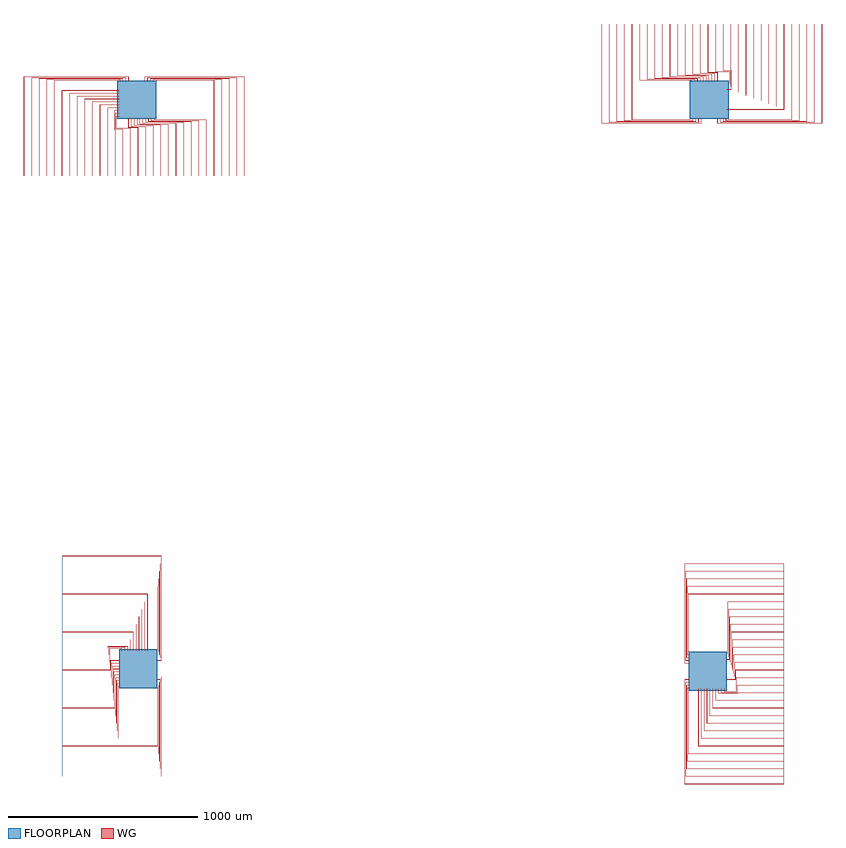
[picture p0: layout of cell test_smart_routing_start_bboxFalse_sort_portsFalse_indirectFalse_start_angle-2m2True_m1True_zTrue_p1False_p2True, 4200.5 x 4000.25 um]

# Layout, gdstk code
import gdstk
lib = gdstk.Library(unit=1e-6, precision=1e-09)
def R(c, l, rs):  # rectangles x0, y0, x1, y1
    for r in rs: c.add(gdstk.rectangle(r[:2], r[2:], *l))
def P(c, l, *ps):  # polygons
    for p in ps: c.add(gdstk.Polygon(p, *l))
WG = (1, 0)
FLOORPLAN = (10, 0)

test_smart_routing_start = lib.new_cell('test_smart_routing_start_bboxFalse_sort_portsFalse_indirectFalse_start_angle-2m2True_m1True_zTrue_p1False_p2True')
P(test_smart_routing_start, WG, [(3049.75,2877.5),(3049.75,2900),(3050.25,2900),(3050.25,2878),(3599.75,2878),(3599.75,3400),(3600.25,3400),(3600.25,2877.5)],
  [(3064.75,2882),(3064.75,2900),(3065.25,2900),(3065.25,2882.5),(3559.75,2882.5),(3559.75,3400),(3560.25,3400),(3560.25,2882)],
  [(3079.75,2886.5),(3079.75,2900),(3080.25,2900),(3080.25,2887),(3519.75,2887),(3519.75,3400),(3520.25,3400),(3520.25,2886.5)],
  [(3094.75,2891),(3094.75,2900),(3095.25,2900),(3095.25,2891.5),(3479.75,2891.5),(3479.75,3400),(3480.25,3400),(3480.25,2891)],
  [(3109.75,2895.5),(3109.75,2900),(3110.25,2900),(3110.25,2896),(3439.75,2896),(3439.75,3400),(3440.25,3400),(3440.25,2895.5)],
  [(3100,2949.75),(3100,2950.25),(3399.75,2950.25),(3399.75,3400),(3400.25,3400),(3400.25,2949.75)],
  [(3100,2964.75),(3100,2965.25),(3359.75,2965.25),(3359.75,3400),(3360.25,3400),(3360.25,2964.75)],
  [(3100,2979.75),(3100,2980.25),(3319.75,2980.25),(3319.75,3400),(3320.25,3400),(3320.25,2979.75)],
  [(3100,2994.75),(3100,2995.25),(3279.75,2995.25),(3279.75,3400),(3280.25,3400),(3280.25,2994.75)],
  [(3100,3009.75),(3100,3010.25),(3239.75,3010.25),(3239.75,3400),(3240.25,3400),(3240.25,3009.75)],
  [(3100,3024.75),(3100,3025.25),(3199.75,3025.25),(3199.75,3400),(3200.25,3400),(3200.25,3024.75)],
  [(3100,3039.75),(3100,3040.25),(3159.75,3040.25),(3159.75,3400),(3160.25,3400),(3160.25,3039.75)],
  [(3100,3054.75),(3100,3055.25),(3123.25,3055.25),(3123.25,3158),(3119.75,3158),(3119.75,3400),(3120.25,3400),(3120.25,3158.5),(3123.75,3158.5),(3123.75,3054.75)],
  [(3100,3069.75),(3100,3070.25),(3118.75,3070.25),(3118.75,3153.5),(3079.75,3153.5),(3079.75,3400),(3080.25,3400),(3080.25,3154),(3119.25,3154),(3119.25,3069.75)],
  [(3100,3084.75),(3100,3085.25),(3114.25,3085.25),(3114.25,3149),(3039.75,3149),(3039.75,3400),(3040.25,3400),(3040.25,3149.5),(3114.75,3149.5),(3114.75,3084.75)],
  [(3049.75,3100),(3049.75,3144.5),(2999.75,3144.5),(2999.75,3400),(3000.25,3400),(3000.25,3145),(3050.25,3145),(3050.25,3100)],
  [(3034.75,3100),(3034.75,3140),(2959.75,3140),(2959.75,3400),(2960.25,3400),(2960.25,3140.5),(3035.25,3140.5),(3035.25,3100)],
  [(3019.75,3100),(3019.75,3135.5),(2919.75,3135.5),(2919.75,3400),(2920.25,3400),(2920.25,3136),(3020.25,3136),(3020.25,3100)],
  [(3004.75,3100),(3004.75,3131),(2879.75,3131),(2879.75,3400),(2880.25,3400),(2880.25,3131.5),(3005.25,3131.5),(3005.25,3100)],
  [(2989.75,3100),(2989.75,3126.5),(2839.75,3126.5),(2839.75,3400),(2840.25,3400),(2840.25,3127),(2990.25,3127),(2990.25,3100)],
  [(2974.75,3100),(2974.75,3122),(2799.75,3122),(2799.75,3400),(2800.25,3400),(2800.25,3122.5),(2975.25,3122.5),(2975.25,3100)],
  [(2959.75,3100),(2959.75,3117.5),(2759.75,3117.5),(2759.75,3400),(2760.25,3400),(2760.25,3118),(2960.25,3118),(2960.25,3100)],
  [(2944.75,3100),(2944.75,3113),(2719.75,3113),(2719.75,3400),(2720.25,3400),(2720.25,3113.5),(2945.25,3113.5),(2945.25,3100)],
  [(2929.75,3100),(2929.75,3108.5),(2679.75,3108.5),(2679.75,3400),(2680.25,3400),(2680.25,3109),(2930.25,3109),(2930.25,3100)],
  [(2914.75,3100),(2914.75,3104),(2639.75,3104),(2639.75,3400),(2640.25,3400),(2640.25,3104.5),(2915.25,3104.5),(2915.25,3100)],
  [(2439.75,2877.5),(2439.75,3400),(2440.25,3400),(2440.25,2878),(2964.75,2878),(2964.75,2900),(2965.25,2900),(2965.25,2877.5)],
  [(2479.75,2882),(2479.75,3400),(2480.25,3400),(2480.25,2882.5),(2949.75,2882.5),(2949.75,2900),(2950.25,2900),(2950.25,2882)],
  [(2519.75,2886.5),(2519.75,3400),(2520.25,3400),(2520.25,2887),(2934.75,2887),(2934.75,2900),(2935.25,2900),(2935.25,2886.5)],
  [(2559.75,2891),(2559.75,3400),(2560.25,3400),(2560.25,2891.5),(2919.75,2891.5),(2919.75,2900),(2920.25,2900),(2920.25,2891)],
  [(2599.75,2895.5),(2599.75,3400),(2600.25,3400),(2600.25,2896),(2904.75,2896),(2904.75,2900),(2905.25,2900),(2905.25,2895.5)],
  [(-600.25,2600),(-600.25,3122.5),(-49.75,3122.5),(-49.75,3100),(-50.25,3100),(-50.25,3122),(-599.75,3122),(-599.75,2600)],
  [(-560.25,2600),(-560.25,3118),(-64.75,3118),(-64.75,3100),(-65.25,3100),(-65.25,3117.5),(-559.75,3117.5),(-559.75,2600)],
  [(-520.25,2600),(-520.25,3113.5),(-79.75,3113.5),(-79.75,3100),(-80.25,3100),(-80.25,3113),(-519.75,3113),(-519.75,2600)],
  [(-480.25,2600),(-480.25,3109),(-94.75,3109),(-94.75,3100),(-95.25,3100),(-95.25,3108.5),(-479.75,3108.5),(-479.75,2600)],
  [(-440.25,2600),(-440.25,3104.5),(-109.75,3104.5),(-109.75,3100),(-110.25,3100),(-110.25,3104),(-439.75,3104),(-439.75,2600)],
  [(-400.25,2600),(-400.25,3050.25),(-100,3050.25),(-100,3049.75),(-399.75,3049.75),(-399.75,2600)],
  [(-360.25,2600),(-360.25,3035.25),(-100,3035.25),(-100,3034.75),(-359.75,3034.75),(-359.75,2600)],
  [(-320.25,2600),(-320.25,3020.25),(-100,3020.25),(-100,3019.75),(-319.75,3019.75),(-319.75,2600)],
  [(-280.25,2600),(-280.25,3005.25),(-100,3005.25),(-100,3004.75),(-279.75,3004.75),(-279.75,2600)],
  [(-240.25,2600),(-240.25,2990.25),(-100,2990.25),(-100,2989.75),(-239.75,2989.75),(-239.75,2600)],
  [(-200.25,2600),(-200.25,2975.25),(-100,2975.25),(-100,2974.75),(-199.75,2974.75),(-199.75,2600)],
  [(-160.25,2600),(-160.25,2960.25),(-100,2960.25),(-100,2959.75),(-159.75,2959.75),(-159.75,2600)],
  [(-120.25,2600),(-120.25,2841.5),(-123.75,2841.5),(-123.75,2945.25),(-100,2945.25),(-100,2944.75),(-123.25,2944.75),(-123.25,2842),(-119.75,2842),(-119.75,2600)],
  [(-80.25,2600),(-80.25,2846),(-119.25,2846),(-119.25,2930.25),(-100,2930.25),(-100,2929.75),(-118.75,2929.75),(-118.75,2846.5),(-79.75,2846.5),(-79.75,2600)],
  [(-40.25,2600),(-40.25,2850.5),(-114.75,2850.5),(-114.75,2915.25),(-100,2915.25),(-100,2914.75),(-114.25,2914.75),(-114.25,2851),(-39.75,2851),(-39.75,2600)],
  [(-0.25,2600),(-0.25,2855),(-50.25,2855),(-50.25,2900),(-49.75,2900),(-49.75,2855.5),(0.25,2855.5),(0.25,2600)],
  [(39.75,2600),(39.75,2859.5),(-35.25,2859.5),(-35.25,2900),(-34.75,2900),(-34.75,2860),(40.25,2860),(40.25,2600)],
  [(79.75,2600),(79.75,2864),(-20.25,2864),(-20.25,2900),(-19.75,2900),(-19.75,2864.5),(80.25,2864.5),(80.25,2600)],
  [(119.75,2600),(119.75,2868.5),(-5.25,2868.5),(-5.25,2900),(-4.75,2900),(-4.75,2869),(120.25,2869),(120.25,2600)],
  [(159.75,2600),(159.75,2873),(9.75,2873),(9.75,2900),(10.25,2900),(10.25,2873.5),(160.25,2873.5),(160.25,2600)],
  [(199.75,2600),(199.75,2877.5),(24.75,2877.5),(24.75,2900),(25.25,2900),(25.25,2878),(200.25,2878),(200.25,2600)],
  [(239.75,2600),(239.75,2882),(39.75,2882),(39.75,2900),(40.25,2900),(40.25,2882.5),(240.25,2882.5),(240.25,2600)],
  [(279.75,2600),(279.75,2886.5),(54.75,2886.5),(54.75,2900),(55.25,2900),(55.25,2887),(280.25,2887),(280.25,2600)],
  [(319.75,2600),(319.75,2891),(69.75,2891),(69.75,2900),(70.25,2900),(70.25,2891.5),(320.25,2891.5),(320.25,2600)],
  [(359.75,2600),(359.75,2895.5),(84.75,2895.5),(84.75,2900),(85.25,2900),(85.25,2896),(360.25,2896),(360.25,2600)],
  [(559.75,2600),(559.75,3122),(35.25,3122),(35.25,3100),(34.75,3100),(34.75,3122.5),(560.25,3122.5),(560.25,2600)],
  [(519.75,2600),(519.75,3117.5),(50.25,3117.5),(50.25,3100),(49.75,3100),(49.75,3118),(520.25,3118),(520.25,2600)],
  [(479.75,2600),(479.75,3113),(65.25,3113),(65.25,3100),(64.75,3100),(64.75,3113.5),(480.25,3113.5),(480.25,2600)],
  [(439.75,2600),(439.75,3108.5),(80.25,3108.5),(80.25,3100),(79.75,3100),(79.75,3109),(440.25,3109),(440.25,2600)],
  [(399.75,2600),(399.75,3104),(95.25,3104),(95.25,3100),(94.75,3100),(94.75,3104.5),(400.25,3104.5),(400.25,2600)],
  [(100,49.75),(100,50.25),(122,50.25),(122,599.75),(-400,599.75),(-400,600.25),(122.5,600.25),(122.5,49.75)],
  [(100,64.75),(100,65.25),(117.5,65.25),(117.5,559.75),(-400,559.75),(-400,560.25),(118,560.25),(118,64.75)],
  [(100,79.75),(100,80.25),(113,80.25),(113,519.75),(-400,519.75),(-400,520.25),(113.5,520.25),(113.5,79.75)],
  [(100,94.75),(100,95.25),(108.5,95.25),(108.5,479.75),(-400,479.75),(-400,480.25),(109,480.25),(109,94.75)],
  [(100,109.75),(100,110.25),(104,110.25),(104,439.75),(-400,439.75),(-400,440.25),(104.5,440.25),(104.5,109.75)],
  [(49.75,100),(49.75,399.75),(-400,399.75),(-400,400.25),(50.25,400.25),(50.25,100)],
  [(34.75,100),(34.75,359.75),(-400,359.75),(-400,360.25),(35.25,360.25),(35.25,100)],
  [(19.75,100),(19.75,319.75),(-400,319.75),(-400,320.25),(20.25,320.25),(20.25,100)],
  [(4.75,100),(4.75,279.75),(-400,279.75),(-400,280.25),(5.25,280.25),(5.25,100)],
  [(-10.25,100),(-10.25,239.75),(-400,239.75),(-400,240.25),(-9.75,240.25),(-9.75,100)],
  [(-25.25,100),(-25.25,199.75),(-400,199.75),(-400,200.25),(-24.75,200.25),(-24.75,100)],
  [(-40.25,100),(-40.25,159.75),(-400,159.75),(-400,160.25),(-39.75,160.25),(-39.75,100)],
  [(-55.25,100),(-55.25,123.25),(-158,123.25),(-158,119.75),(-400,119.75),(-400,120.25),(-158.5,120.25),(-158.5,123.75),(-54.75,123.75),(-54.75,100)],
  [(-400,79.75),(-400,80.25),(-154,80.25),(-154,119.25),(-69.75,119.25),(-69.75,100),(-70.25,100),(-70.25,118.75),(-153.5,118.75),(-153.5,79.75)],
  [(-400,39.75),(-400,40.25),(-149.5,40.25),(-149.5,114.75),(-84.75,114.75),(-84.75,100),(-85.25,100),(-85.25,114.25),(-149,114.25),(-149,39.75)],
  [(-400,-0.25),(-400,0.25),(-145,0.25),(-145,50.25),(-100,50.25),(-100,49.75),(-144.5,49.75),(-144.5,-0.25)],
  [(-400,-40.25),(-400,-39.75),(-140.5,-39.75),(-140.5,35.25),(-100,35.25),(-100,34.75),(-140,34.75),(-140,-40.25)],
  [(-400,-80.25),(-400,-79.75),(-136,-79.75),(-136,20.25),(-100,20.25),(-100,19.75),(-135.5,19.75),(-135.5,-80.25)],
  [(-400,-120.25),(-400,-119.75),(-131.5,-119.75),(-131.5,5.25),(-100,5.25),(-100,4.75),(-131,4.75),(-131,-120.25)],
  [(-400,-160.25),(-400,-159.75),(-127,-159.75),(-127,-9.75),(-100,-9.75),(-100,-10.25),(-126.5,-10.25),(-126.5,-160.25)],
  [(-400,-200.25),(-400,-199.75),(-122.5,-199.75),(-122.5,-24.75),(-100,-24.75),(-100,-25.25),(-122,-25.25),(-122,-200.25)],
  [(-400,-240.25),(-400,-239.75),(-118,-239.75),(-118,-39.75),(-100,-39.75),(-100,-40.25),(-117.5,-40.25),(-117.5,-240.25)],
  [(-400,-280.25),(-400,-279.75),(-113.5,-279.75),(-113.5,-54.75),(-100,-54.75),(-100,-55.25),(-113,-55.25),(-113,-280.25)],
  [(-400,-320.25),(-400,-319.75),(-109,-319.75),(-109,-69.75),(-100,-69.75),(-100,-70.25),(-108.5,-70.25),(-108.5,-320.25)],
  [(-400,-360.25),(-400,-359.75),(-104.5,-359.75),(-104.5,-84.75),(-100,-84.75),(-100,-85.25),(-104,-85.25),(-104,-360.25)],
  [(-400,-560.25),(-400,-559.75),(122,-559.75),(122,-35.25),(100,-35.25),(100,-34.75),(122.5,-34.75),(122.5,-560.25)],
  [(-400,-520.25),(-400,-519.75),(117.5,-519.75),(117.5,-50.25),(100,-50.25),(100,-49.75),(118,-49.75),(118,-520.25)],
  [(-400,-480.25),(-400,-479.75),(113,-479.75),(113,-65.25),(100,-65.25),(100,-64.75),(113.5,-64.75),(113.5,-480.25)],
  [(-400,-440.25),(-400,-439.75),(108.5,-439.75),(108.5,-80.25),(100,-80.25),(100,-79.75),(109,-79.75),(109,-440.25)],
  [(-400,-400.25),(-400,-399.75),(104,-399.75),(104,-95.25),(100,-95.25),(100,-94.75),(104.5,-94.75),(104.5,-400.25)],
  [(2877.5,-600.25),(2877.5,-49.75),(2900,-49.75),(2900,-50.25),(2878,-50.25),(2878,-599.75),(3400,-599.75),(3400,-600.25)],
  [(2882,-560.25),(2882,-64.75),(2900,-64.75),(2900,-65.25),(2882.5,-65.25),(2882.5,-559.75),(3400,-559.75),(3400,-560.25)],
  [(2886.5,-520.25),(2886.5,-79.75),(2900,-79.75),(2900,-80.25),(2887,-80.25),(2887,-519.75),(3400,-519.75),(3400,-520.25)],
  [(2891,-480.25),(2891,-94.75),(2900,-94.75),(2900,-95.25),(2891.5,-95.25),(2891.5,-479.75),(3400,-479.75),(3400,-480.25)],
  [(2895.5,-440.25),(2895.5,-109.75),(2900,-109.75),(2900,-110.25),(2896,-110.25),(2896,-439.75),(3400,-439.75),(3400,-440.25)],
  [(2949.75,-400.25),(2949.75,-100),(2950.25,-100),(2950.25,-399.75),(3400,-399.75),(3400,-400.25)],
  [(2964.75,-360.25),(2964.75,-100),(2965.25,-100),(2965.25,-359.75),(3400,-359.75),(3400,-360.25)],
  [(2979.75,-320.25),(2979.75,-100),(2980.25,-100),(2980.25,-319.75),(3400,-319.75),(3400,-320.25)],
  [(2994.75,-280.25),(2994.75,-100),(2995.25,-100),(2995.25,-279.75),(3400,-279.75),(3400,-280.25)],
  [(3009.75,-240.25),(3009.75,-100),(3010.25,-100),(3010.25,-239.75),(3400,-239.75),(3400,-240.25)],
  [(3024.75,-200.25),(3024.75,-100),(3025.25,-100),(3025.25,-199.75),(3400,-199.75),(3400,-200.25)],
  [(3039.75,-160.25),(3039.75,-100),(3040.25,-100),(3040.25,-159.75),(3400,-159.75),(3400,-160.25)],
  [(3054.75,-123.75),(3054.75,-100),(3055.25,-100),(3055.25,-123.25),(3158,-123.25),(3158,-119.75),(3400,-119.75),(3400,-120.25),(3158.5,-120.25),(3158.5,-123.75)],
  [(3069.75,-119.25),(3069.75,-100),(3070.25,-100),(3070.25,-118.75),(3153.5,-118.75),(3153.5,-79.75),(3400,-79.75),(3400,-80.25),(3154,-80.25),(3154,-119.25)],
  [(3084.75,-114.75),(3084.75,-100),(3085.25,-100),(3085.25,-114.25),(3149,-114.25),(3149,-39.75),(3400,-39.75),(3400,-40.25),(3149.5,-40.25),(3149.5,-114.75)],
  [(3100,-50.25),(3100,-49.75),(3144.5,-49.75),(3144.5,0.25),(3400,0.25),(3400,-0.25),(3145,-0.25),(3145,-50.25)],
  [(3100,-35.25),(3100,-34.75),(3140,-34.75),(3140,40.25),(3400,40.25),(3400,39.75),(3140.5,39.75),(3140.5,-35.25)],
  [(3100,-20.25),(3100,-19.75),(3135.5,-19.75),(3135.5,80.25),(3400,80.25),(3400,79.75),(3136,79.75),(3136,-20.25)],
  [(3100,-5.25),(3100,-4.75),(3131,-4.75),(3131,120.25),(3400,120.25),(3400,119.75),(3131.5,119.75),(3131.5,-5.25)],
  [(3100,9.75),(3100,10.25),(3126.5,10.25),(3126.5,160.25),(3400,160.25),(3400,159.75),(3127,159.75),(3127,9.75)],
  [(3100,24.75),(3100,25.25),(3122,25.25),(3122,200.25),(3400,200.25),(3400,199.75),(3122.5,199.75),(3122.5,24.75)],
  [(3100,39.75),(3100,40.25),(3117.5,40.25),(3117.5,240.25),(3400,240.25),(3400,239.75),(3118,239.75),(3118,39.75)],
  [(3100,54.75),(3100,55.25),(3113,55.25),(3113,280.25),(3400,280.25),(3400,279.75),(3113.5,279.75),(3113.5,54.75)],
  [(3100,69.75),(3100,70.25),(3108.5,70.25),(3108.5,320.25),(3400,320.25),(3400,319.75),(3109,319.75),(3109,69.75)],
  [(3100,84.75),(3100,85.25),(3104,85.25),(3104,360.25),(3400,360.25),(3400,359.75),(3104.5,359.75),(3104.5,84.75)],
  [(2877.5,34.75),(2877.5,560.25),(3400,560.25),(3400,559.75),(2878,559.75),(2878,35.25),(2900,35.25),(2900,34.75)],
  [(2882,49.75),(2882,520.25),(3400,520.25),(3400,519.75),(2882.5,519.75),(2882.5,50.25),(2900,50.25),(2900,49.75)],
  [(2886.5,64.75),(2886.5,480.25),(3400,480.25),(3400,479.75),(2887,479.75),(2887,65.25),(2900,65.25),(2900,64.75)],
  [(2891,79.75),(2891,440.25),(3400,440.25),(3400,439.75),(2891.5,439.75),(2891.5,80.25),(2900,80.25),(2900,79.75)],
  [(2895.5,94.75),(2895.5,400.25),(3400,400.25),(3400,399.75),(2896,399.75),(2896,95.25),(2900,95.25),(2900,94.75)])
R(test_smart_routing_start, FLOORPLAN, [(2900,-110,3100,95), (-100,-95,100,110), (-110,2900,95,3100), (2905,2900,3110,3100)])
P(test_smart_routing_start, FLOORPLAN, [(-400,-560),(-400,600),(-400,600),(-400,-560)],
  [(-600,2600),(-600,2600),(560,2600),(560,2600)],
  [(3400,-600),(3400,560),(3400,560),(3400,-600)],
  [(2440,3400),(2440,3400),(3600,3400),(3600,3400)])

lib.write_gds('test_smart_routing_start_bboxFalse_sort_portsFalse_indirectFalse_start_angle-2m2True_m1True_zTrue_p1False_p2True.gds')
